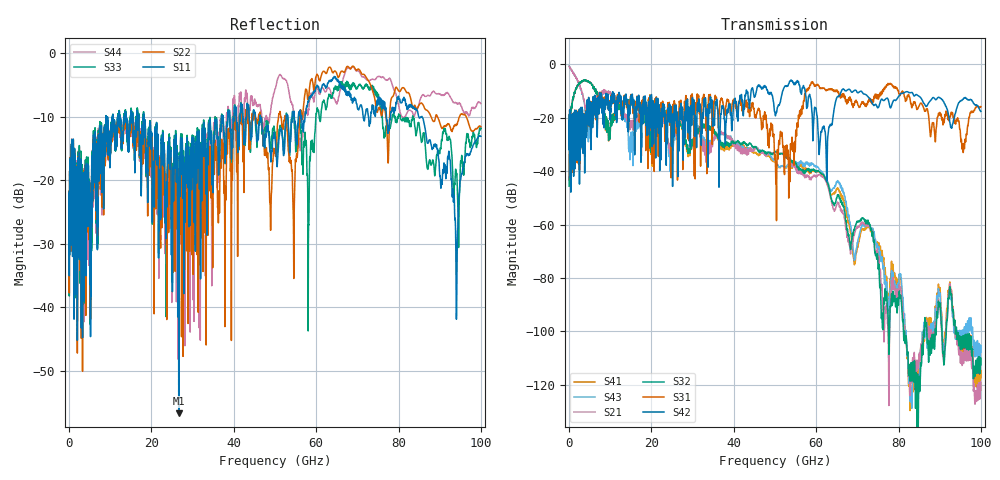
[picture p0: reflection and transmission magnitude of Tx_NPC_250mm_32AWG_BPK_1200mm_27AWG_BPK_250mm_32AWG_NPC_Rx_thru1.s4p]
! Info: Touchstone file created by Circ.  Input file=Tx_NPC_250mm_32AWG_BPK_1200mm_27AWG_BPK_250mm_32AWG_NPC_Rx.circ
# Hz S RI R 50
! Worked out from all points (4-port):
!   10000 points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, 10 MHz to 100 GHz, reference 50 ohm
!   strongest paths, dB at 10 MHz, 25.01 GHz, 50.01 GHz, 75.01 GHz, 100 GHz:
!     S42: -26.4, -19.9, -18.4, -16.3, -17.6
!     S31: -26.4, -23.8, -33.9, -11.9, -15.8
!     S32: -45.6, -17.7, -32.7, -75.0, -112.6
!     S21: -0.7, -30.8, -32.8, -72.9, -121.9
!     S43: -0.7, -33.8, -36.1, -70.1, -107.9
!     S41: -43.2, -17.7, -36.5, -69.2, -117.4
!   lowest |S11| = -56.7 dB at 26.63 GHz (marker M1), VSWR 1.00, Z = 50 + j0.142 ohm
!   |S11| at or under -10 dB: start of sweep to 8.952 GHz; 18.15 GHz to 37.04 GHz (18.89 GHz wide, 68.4 % of centre); 85.71 GHz to end of sweep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
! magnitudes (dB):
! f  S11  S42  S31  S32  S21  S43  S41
! 10 MHz  -22.3  -26.4  -26.4  -45.6  -0.7  -0.7  -43.2
! 3.45 GHz  -24.5  -19.7  -19.8  -6.1  -12.4  -12.6  -6.1
! 26.63 GHz  -56.7  -26.8  -19.3  -20.9  -22.2  -22.4  -21.1
! 50.33 GHz  -16.2  -18.0  -48.1  -32.7  -32.6  -36.5  -37.0
! 58.96 GHz  -6.5  -17.4  -6.9  -39.4  -42.2  -36.9  -39.7
! 77 GHz  -9.3  -12.8  -8.4  -87.1  -91.6  -84.3  -82.1
! 100 GHz  -13.1  -17.6  -15.8  -112.6  -121.9  -107.9  -117.4
